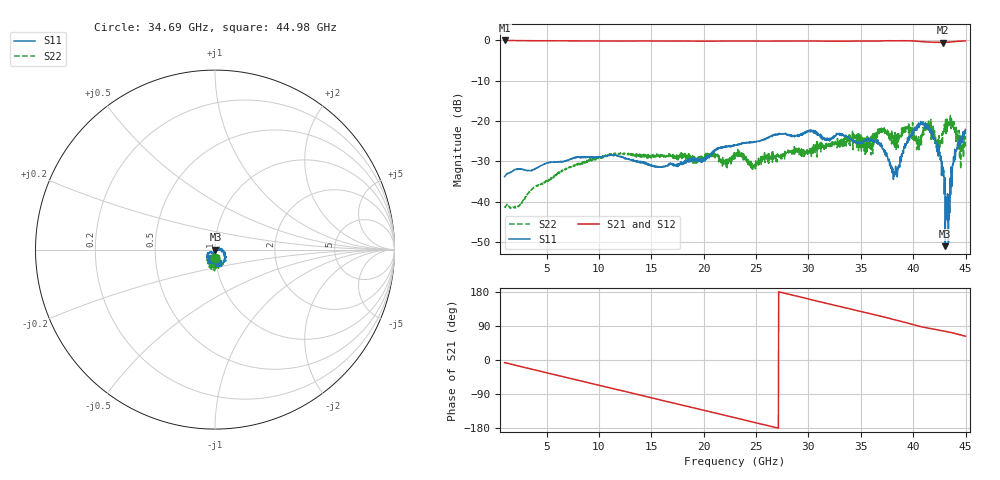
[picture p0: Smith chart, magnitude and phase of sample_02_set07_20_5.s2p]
!Keysight Technologies,N5247B,MY61255062,A.19.80.06
!Date: Friday, March 13, 2026 17:49:19
!Correction: S11(C  2-Port  )
!S21(C  2-Port  )
!S12(C  2-Port  )
!S22(C  2-Port  )
!S2P File: Measurements: S11, S21, S12, S22:
# Hz S  dB  R 50
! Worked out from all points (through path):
!   1467 points, 1 GHz to 44.98 GHz, reference 50 ohm
!   highest |S21| = -0.09 dB at 1 GHz (marker M1); lowest = -0.6 dB at 42.85 GHz (marker M2)
!   group delay of S21, straight-line fit = 18.4 ps
!   lowest |S11| = -51.0 dB at 43.06 GHz (marker M3), VSWR 1.01, Z = 50.3 - j0.117 ohm
!   |S11| at or under -10 dB: start of sweep to end of sweep
!   |S22| runs from -41.6 to -18.6 dB; largest |S21 - S12| = 0.0085
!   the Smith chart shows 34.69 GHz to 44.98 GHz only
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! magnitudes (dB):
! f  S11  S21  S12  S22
! 1 GHz  -33.7  -0.1  -0.1  -41.2
! 8.35 GHz  -28.9  -0.2  -0.2  -30.8
! 15.67 GHz  -31.4  -0.2  -0.2  -28.5
! 22.99 GHz  -26.0  -0.2  -0.2  -27.9
! 24.73 GHz  -25.4  -0.2  -0.2  -31.0
! 30.34 GHz  -22.5  -0.2  -0.2  -26.7
! 35.92 GHz  -24.5  -0.2  -0.2  -24.2
! 36.55 GHz  -24.6  -0.2  -0.2  -23.0
! 37.66 GHz  -30.0  -0.1  -0.1  -24.3
! 38.32 GHz  -31.2  -0.2  -0.2  -23.8
! 39.37 GHz  -25.6  -0.2  -0.2  -21.9
! 40.42 GHz  -21.8  -0.3  -0.3  -25.7
! 40.87 GHz  -20.7  -0.4  -0.4  -23.2
! 41.47 GHz  -22.2  -0.5  -0.5  -20.0
! 42.01 GHz  -24.6  -0.5  -0.5  -24.6
! 42.43 GHz  -26.1  -0.5  -0.6  -29.0
! 42.85 GHz  -31.4  -0.6  -0.5  -23.4
! 43.06 GHz  -51.0  -0.5  -0.5  -22.7
! 43.27 GHz  -38.0  -0.5  -0.5  -20.0
! 43.96 GHz  -27.0  -0.4  -0.3  -22.8
! 44.5 GHz  -23.8  -0.2  -0.2  -26.0
! 44.98 GHz  -22.1  -0.2  -0.2  -26.3
